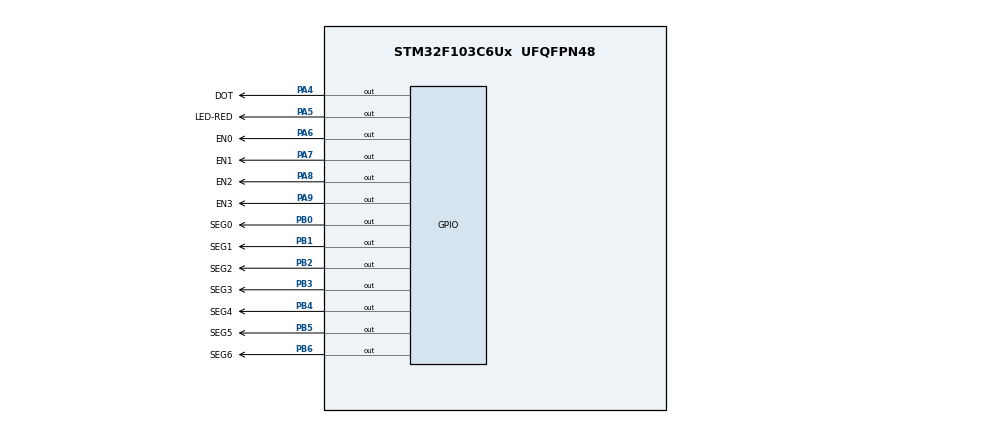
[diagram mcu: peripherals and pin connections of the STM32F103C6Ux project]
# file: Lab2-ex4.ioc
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Mcu.Family=STM32F1
Mcu.Name=STM32F103C6Ux
Mcu.Package=UFQFPN48
NVIC.PriorityGroup=NVIC_PRIORITYGROUP_4
NVIC.TIM2_IRQn=true\:0\:0\:false\:false\:true\:true\:true
PA4.GPIO_Label=DOT
PA4.Signal=GPIO_Output
PA5.GPIO_Label=LED-RED
PA5.Signal=GPIO_Output
PA6.GPIO_Label=EN0
PA6.Signal=GPIO_Output
PA7.GPIO_Label=EN1
PA7.Signal=GPIO_Output
PA8.GPIO_Label=EN2
PA8.Signal=GPIO_Output
PA9.GPIO_Label=EN3
PA9.Signal=GPIO_Output
PB0.GPIO_Label=SEG0
PB0.Signal=GPIO_Output
PB1.GPIO_Label=SEG1
PB1.Signal=GPIO_Output
PB2.GPIO_Label=SEG2
PB2.Signal=GPIO_Output
PB3.GPIO_Label=SEG3
PB3.Signal=GPIO_Output
PB4.GPIO_Label=SEG4
PB4.Signal=GPIO_Output
PB5.GPIO_Label=SEG5
PB5.Signal=GPIO_Output
PB6.GPIO_Label=SEG6
PB6.Signal=GPIO_Output
ProjectManager.HeapSize=0x200
ProjectManager.StackSize=0x400
ProjectManager.TargetToolchain=STM32CubeIDE
RCC.APB1Freq_Value=8000000
RCC.APB2Freq_Value=8000000
TIM2.Period=9
TIM2.Prescaler=7999
VP_SYS_VS_ND.Mode=No_Debug
VP_TIM2_VS_ClockSourceINT.Mode=Internal
board=custom

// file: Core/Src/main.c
/* USER CODE BEGIN Header */
/**
  ******************************************************************************
  * @file           : main.c
  * @brief          : Main program body
  ******************************************************************************
  * @attention
  *
  * <h2><center>&copy; Copyright (c) 2025 STMicroelectronics.
  * All rights reserved.</center></h2>
  *
  * This software component is licensed by ST under BSD 3-Clause license,
  * the "License"; You may not use this file except in compliance with the
  * License. You may obtain a copy of the License at:
  *                        opensource.org/licenses/BSD-3-Clause
  *
  ******************************************************************************
  */
/* USER CODE END Header */
#include "main.h"

TIM_HandleTypeDef htim2;

/* USER CODE BEGIN PV */
int index_led = 0;
int led_buffer[4] = {1, 2, 3, 4};
/* USER CODE END PV */

void SystemClock_Config(void);
static void MX_GPIO_Init(void);
static void MX_TIM2_Init(void);

/* USER CODE BEGIN 0 */
#define TIMER_CYCLE  10
void display7SEG(int num) {
    // Turn off all segment
    HAL_GPIO_WritePin(GPIOB, SEG0_Pin|SEG1_Pin|SEG2_Pin|SEG3_Pin|SEG4_Pin|SEG5_Pin|SEG6_Pin, GPIO_PIN_SET);

    switch (num) {
        case 0:
            HAL_GPIO_WritePin(GPIOB, SEG0_Pin|SEG1_Pin|SEG2_Pin|SEG3_Pin|SEG4_Pin|SEG5_Pin, GPIO_PIN_RESET);
            break;
        case 1:
            HAL_GPIO_WritePin(GPIOB, SEG1_Pin|SEG2_Pin, GPIO_PIN_RESET);
            break;
        case 2:
            HAL_GPIO_WritePin(GPIOB, SEG0_Pin|SEG1_Pin|SEG3_Pin|SEG4_Pin|SEG6_Pin, GPIO_PIN_RESET);
            break;
        case 3:
            HAL_GPIO_WritePin(GPIOB, SEG0_Pin|SEG1_Pin|SEG2_Pin|SEG3_Pin|SEG6_Pin, GPIO_PIN_RESET);
            break;
        case 4:
            HAL_GPIO_WritePin(GPIOB, SEG1_Pin|SEG2_Pin|SEG5_Pin|SEG6_Pin, GPIO_PIN_RESET);
            break;
        case 5:
            HAL_GPIO_WritePin(GPIOB, SEG0_Pin|SEG2_Pin|SEG3_Pin|SEG5_Pin|SEG6_Pin, GPIO_PIN_RESET);
            break;
        case 6:
            HAL_GPIO_WritePin(GPIOB, SEG0_Pin|SEG2_Pin|SEG3_Pin|SEG4_Pin|SEG5_Pin|SEG6_Pin, GPIO_PIN_RESET);
            break;
        case 7:
            HAL_GPIO_WritePin(GPIOB, SEG0_Pin|SEG1_Pin|SEG2_Pin, GPIO_PIN_RESET);
            break;
        case 8:
            HAL_GPIO_WritePin(GPIOB, SEG0_Pin|SEG1_Pin|SEG2_Pin|SEG3_Pin|SEG4_Pin|SEG5_Pin|SEG6_Pin, GPIO_PIN_RESET);
            break;
        case 9:
            HAL_GPIO_WritePin(GPIOB, SEG0_Pin|SEG1_Pin|SEG2_Pin|SEG3_Pin|SEG5_Pin|SEG6_Pin, GPIO_PIN_RESET);
            break;
    }
}

void update7SEG(int index){
    switch (index){
        case 0:
            //Display the first 7SEG with led_buffer[0]
            display7SEG(led_buffer[0]);
            HAL_GPIO_WritePin(EN0_GPIO_Port, EN0_Pin, GPIO_PIN_RESET);
            break;
        case 1:
            //Display the second 7SEG with led_buffer[1]
            display7SEG(led_buffer[1]);
            HAL_GPIO_WritePin(EN1_GPIO_Port, EN1_Pin, GPIO_PIN_RESET);
            break;
        case 2:
            //Display the third 7SEG with led_buffer[2]
            display7SEG(led_buffer[2]);
            HAL_GPIO_WritePin(EN2_GPIO_Port, EN2_Pin, GPIO_PIN_RESET);
            break;
        case 3:
            //Display the forth 7SEG with led_buffer[3]
            display7SEG(led_buffer[3]);
            HAL_GPIO_WritePin(EN3_GPIO_Port, EN3_Pin, GPIO_PIN_RESET);
            break;
        default:
            break;
    }
}
// Timer 1: To scan 4 LED 7 segment (T = 500ms)
int timer1_counter = 0;
int timer1_flag = 0;

// Timer 2: To blink the DOT led (T = 500ms)
int timer2_counter = 0;
int timer2_flag = 0;

void setTimer1(int duration) {
    timer1_counter = duration / TIMER_CYCLE;
    timer1_flag = 0;
}

void setTimer2(int duration) {
    timer2_counter = duration / TIMER_CYCLE;
    timer2_flag = 0;
}

void timerRun() {
    if (timer1_counter > 0) {
        timer1_counter--;
        if (timer1_counter <= 0) {
            timer1_flag = 1;
        }
    }

    if (timer2_counter > 0) {
        timer2_counter--;
        if (timer2_counter <= 0) {
            timer2_flag = 1;
        }
    }
}
/* USER CODE END 0 */

int main(void)
{

  /* MCU Configuration--------------------------------------------------------*/

  /* Reset of all peripherals, Initializes the Flash interface and the Systick. */
  HAL_Init();

  /* Configure the system clock */
  SystemClock_Config();

  /* Initialize all configured peripherals */
  MX_GPIO_Init();
  MX_TIM2_Init();
  HAL_TIM_Base_Start_IT(&htim2);
  setTimer1(250); // Timer cho quét LED 7 đoạn (chu kỳ 250ms)
  setTimer2(500); // Timer cho nháy đèn DOT (chu kỳ 500ms)

  while (1)
  {
	  if (timer1_flag == 1) {
		  // Hàm này sẽ tự động bật 1 LED và hiển thị giá trị từ led_buffer
		  update7SEG(index_led);

		  // Tăng chỉ số để quét đèn tiếp theo
		  index_led++;
		  if (index_led >= 4) {
			  index_led = 0;
		  }

		  // Đặt lại timer 1 với chu kỳ mới là 250ms
		  setTimer1(250);
	  }

	  if (timer2_flag == 1) {
		  // Đảo trạng thái của đèn DOT
		  HAL_GPIO_TogglePin(DOT_GPIO_Port, DOT_Pin);

		  // Đặt lại timer 2 với chu kỳ 500ms
		  setTimer2(500);
	  }
  }
  /* USER CODE END 3 */
}

void SystemClock_Config(void)
{
  RCC_OscInitTypeDef RCC_OscInitStruct = {0};
  RCC_ClkInitTypeDef RCC_ClkInitStruct = {0};

  /** Initializes the RCC Oscillators according to the specified parameters
  * in the RCC_OscInitTypeDef structure.
  */
  RCC_OscInitStruct.OscillatorType = RCC_OSCILLATORTYPE_HSI;
  RCC_OscInitStruct.HSIState = RCC_HSI_ON;
  RCC_OscInitStruct.HSICalibrationValue = RCC_HSICALIBRATION_DEFAULT;
  RCC_OscInitStruct.PLL.PLLState = RCC_PLL_NONE;
  if (HAL_RCC_OscConfig(&RCC_OscInitStruct) != HAL_OK)
  {
    Error_Handler();
  }
  /** Initializes the CPU, AHB and APB buses clocks
  */
  RCC_ClkInitStruct.ClockType = RCC_CLOCKTYPE_HCLK|RCC_CLOCKTYPE_SYSCLK
                              |RCC_CLOCKTYPE_PCLK1|RCC_CLOCKTYPE_PCLK2;
  RCC_ClkInitStruct.SYSCLKSource = RCC_SYSCLKSOURCE_HSI;
  RCC_ClkInitStruct.AHBCLKDivider = RCC_SYSCLK_DIV1;
  RCC_ClkInitStruct.APB1CLKDivider = RCC_HCLK_DIV1;
  RCC_ClkInitStruct.APB2CLKDivider = RCC_HCLK_DIV1;

  if (HAL_RCC_ClockConfig(&RCC_ClkInitStruct, FLASH_LATENCY_0) != HAL_OK)
  {
    Error_Handler();
  }
}

static void MX_TIM2_Init(void)
{

  TIM_ClockConfigTypeDef sClockSourceConfig = {0};
  TIM_MasterConfigTypeDef sMasterConfig = {0};

  htim2.Instance = TIM2;
  htim2.Init.Prescaler = 7999;
  htim2.Init.CounterMode = TIM_COUNTERMODE_UP;
  htim2.Init.Period = 9;
  htim2.Init.ClockDivision = TIM_CLOCKDIVISION_DIV1;
  htim2.Init.AutoReloadPreload = TIM_AUTORELOAD_PRELOAD_DISABLE;
  if (HAL_TIM_Base_Init(&htim2) != HAL_OK)
  {
    Error_Handler();
  }
  sClockSourceConfig.ClockSource = TIM_CLOCKSOURCE_INTERNAL;
  if (HAL_TIM_ConfigClockSource(&htim2, &sClockSourceConfig) != HAL_OK)
  {
    Error_Handler();
  }
  sMasterConfig.MasterOutputTrigger = TIM_TRGO_RESET;
  sMasterConfig.MasterSlaveMode = TIM_MASTERSLAVEMODE_DISABLE;
  if (HAL_TIMEx_MasterConfigSynchronization(&htim2, &sMasterConfig) != HAL_OK)
  {
    Error_Handler();
  }

}

static void MX_GPIO_Init(void)
{
  GPIO_InitTypeDef GPIO_InitStruct = {0};

  /* GPIO Ports Clock Enable */
  __HAL_RCC_GPIOA_CLK_ENABLE();
  __HAL_RCC_GPIOB_CLK_ENABLE();

  /*Configure GPIO pin Output Level */
  HAL_GPIO_WritePin(GPIOA, DOT_Pin|LED_RED_Pin|EN0_Pin|EN1_Pin
                          |EN2_Pin|EN3_Pin, GPIO_PIN_RESET);

  /*Configure GPIO pin Output Level */
  HAL_GPIO_WritePin(GPIOB, SEG0_Pin|SEG1_Pin|SEG2_Pin|SEG3_Pin
                          |SEG4_Pin|SEG5_Pin|SEG6_Pin, GPIO_PIN_RESET);

  /*Configure GPIO pins : DOT_Pin LED_RED_Pin EN0_Pin EN1_Pin
                           EN2_Pin EN3_Pin */
  GPIO_InitStruct.Pin = DOT_Pin|LED_RED_Pin|EN0_Pin|EN1_Pin
                          |EN2_Pin|EN3_Pin;
  GPIO_InitStruct.Mode = GPIO_MODE_OUTPUT_PP;
  GPIO_InitStruct.Pull = GPIO_NOPULL;
  GPIO_InitStruct.Speed = GPIO_SPEED_FREQ_LOW;
  HAL_GPIO_Init(GPIOA, &GPIO_InitStruct);

  /*Configure GPIO pins : SEG0_Pin SEG1_Pin SEG2_Pin SEG3_Pin
                           SEG4_Pin SEG5_Pin SEG6_Pin */
  GPIO_InitStruct.Pin = SEG0_Pin|SEG1_Pin|SEG2_Pin|SEG3_Pin
                          |SEG4_Pin|SEG5_Pin|SEG6_Pin;
  GPIO_InitStruct.Mode = GPIO_MODE_OUTPUT_PP;
  GPIO_InitStruct.Pull = GPIO_NOPULL;
  GPIO_InitStruct.Speed = GPIO_SPEED_FREQ_LOW;
  HAL_GPIO_Init(GPIOB, &GPIO_InitStruct);

}

/* USER CODE BEGIN 4 */
void HAL_TIM_PeriodElapsedCallback(TIM_HandleTypeDef *htim) {
        timerRun();
}
/* USER CODE END 4 */

void Error_Handler(void)
{
  __disable_irq();
  while (1)
  {
  }
}

/************************ (C) COPYRIGHT STMicroelectronics *****END OF FILE****/
